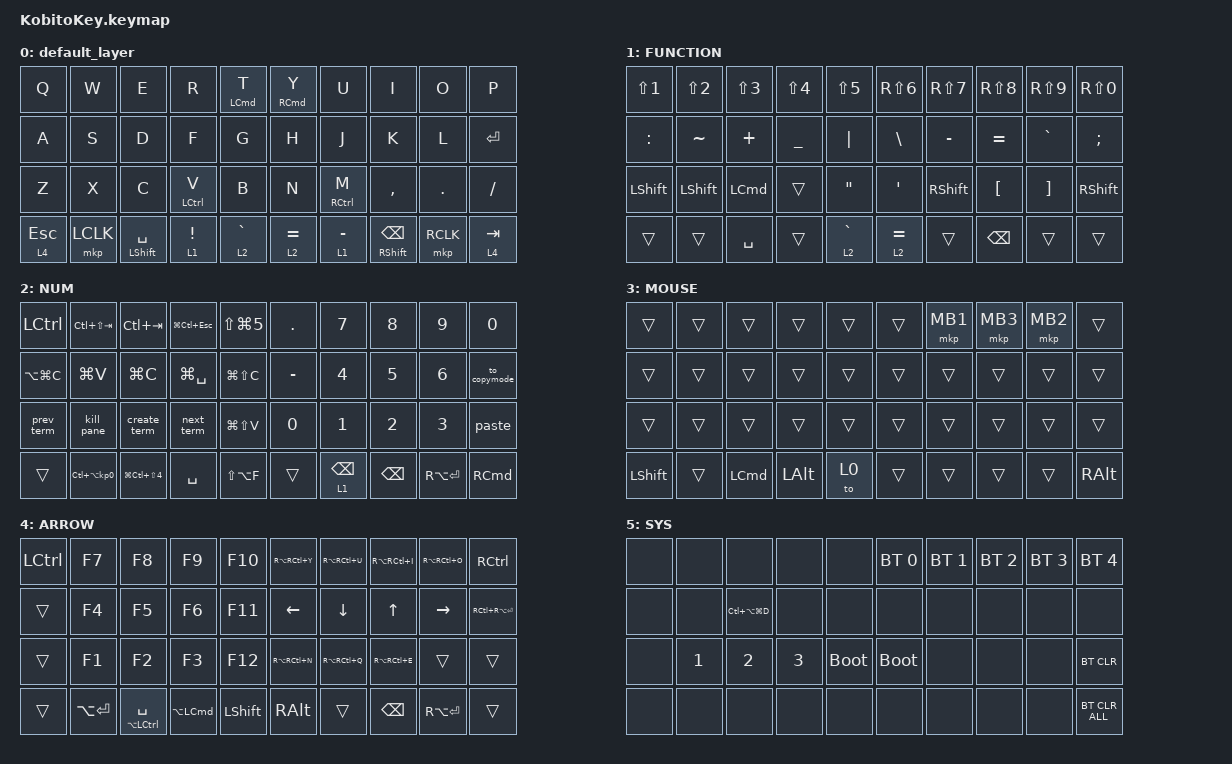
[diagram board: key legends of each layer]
#include <input/processors.dtsi>
#include <behaviors.dtsi>
#include <dt-bindings/zmk/bt.h>
#include <dt-bindings/zmk/keys.h>
#include <dt-bindings/zmk/pointing.h>

// 2026-11-17 に roBaish（zmk-config-roBa の roBa.keymap）にそろえた
//
// キーの位置
//    0  1  2  3  4      5  6  7  8  9      Q W E R T    Y U I O P
//   10 11 12 13 14     15 16 17 18 19      A S D F G    H J K L Return
//   20 21 22 23 24     25 26 27 28 29      Z X C V B    N M , . /
//   30 31 32 33 34     35 36 37 38 39      小指の下・薬指の下・親指 外・中・内    親指 内・中・外・薬指の下・小指の下
//
// レイヤー: 0 通常 / 1 FUNCTION（記号）/ 2 NUM（数字）/ 3 MOUSE（自動マウス）/ 4 ARROW（矢印）/ 5 SYS（システム）
// roBaish の 43 キーとの違い
//   クリック: 薬指の下（左＝左クリック、右＝右クリック）と、MOUSE の U・I・O
//   スクロール: 専用のキーはない（左のボール）
//   内側の4キー（` = ! -）: ! - は親指 中、` = は親指 内のタップ。H の左の長押し（⌥）は、通常のレイヤーにはない
//   親指 外（TH1）と 中（TH2）のタップは 2026-11-17 に入れ替え、同じ日に戻した（5 月の並び）。b・n を親指で押すことにして、
//   親指の置き場が ! と b（右は - と n）の上になり、外がいちばん押しやすくなったため。外＝⇧/Space・⇧/BS、中＝記号/!・記号/-
//   かな・英数: 専用のキーはない（S+D・K+L の combo）

// 長押しの判定を roBaish にそろえる
// ⇧・⌘・⌃ を兼ねるキー: 別のキーを押して離したら長押し（既定は、別のキーを押した時点で長押し）
&mt {
    flavor = "balanced";
    quick-tap-ms = <0>;
};

// レイヤーを兼ねるキー: 別のキーを押した時点でレイヤーに入る（既定は、0.2 秒たつまで入らない）
&lt {
    flavor = "hold-preferred";
};

/ {
    combos {
        compatible = "zmk,combos";

        // roBaish と同じ 10 個。どれも通常（0）と自動マウス（3）のレイヤーだけで効く
        // Esc と入力切り替えは、ほかのキーの直後 150ms 以内は効かない（打鍵中の誤爆よけ。"we"・"action" の io など）
        // Tab と記号はガードなし。打った直後に続けて出したいため（補完の Tab、ローマ字の「ー」、閉じの ` など）

        // Esc。左は W+E、右は I+O
        esc_we {
            bindings = <&kp ESC>;
            key-positions = <1 2>;
            layers = <0 3>;
            require-prior-idle-ms = <150>;
        };

        esc_io {
            bindings = <&kp ESC>;
            key-positions = <7 8>;
            layers = <0 3>;
            require-prior-idle-ms = <150>;
        };

        // macOS の入力切り替え。左の S+D でかな、右の K+L で英数
        kana {
            bindings = <&kp LANG1>;
            key-positions = <11 12>;
            layers = <0 3>;
            require-prior-idle-ms = <150>;
        };

        eisu {
            bindings = <&kp LANG2>;
            key-positions = <17 18>;
            layers = <0 3>;
            require-prior-idle-ms = <150>;
        };

        // Tab。左は X+C、右は ,+.
        tab_xc {
            bindings = <&kp TAB>;
            key-positions = <21 22>;
            layers = <0 3>;
        };

        tab_comma_dot {
            bindings = <&kp TAB>;
            key-positions = <27 28>;
            layers = <0 3>;
        };

        // 記号。左は D+F で `、C+V で !。右は J+K で =、M+, で -
        grave_df {
            bindings = <&kp GRAVE>;
            key-positions = <12 13>;
            layers = <0 3>;
        };

        excl_cv {
            bindings = <&kp EXCLAMATION>;
            key-positions = <22 23>;
            layers = <0 3>;
        };

        equal_jk {
            bindings = <&kp EQUAL>;
            key-positions = <16 17>;
            layers = <0 3>;
        };

        minus_m_comma {
            bindings = <&kp MINUS>;
            key-positions = <26 27>;
            layers = <0 3>;
        };
    };

    conditional_layers {
        compatible = "zmk,conditional-layers";

        // FUNCTION（記号）と NUM（数字）の親指キーを両方押している間、SYS（システム）に入る
        // どちらを先に押してもよいのは、左の 内（NUM）と右の 中（FUNCTION）の組
        sys {
            if-layers = <1 2>;
            then-layer = <5>;
        };
    };

    macros {
        to_copymode: to_copymode {
            compatible = "zmk,behavior-macro";
            #binding-cells = <0>;
            bindings = <&kp LC(G) &kp LEFT_BRACKET>;
            label = "TO_COPYMODE";
        };

        paste: paste {
            compatible = "zmk,behavior-macro";
            #binding-cells = <0>;
            bindings = <&kp LC(G) &kp EQUAL>;
            label = "PASTE";
        };

        create_term: create_term {
            compatible = "zmk,behavior-macro";
            #binding-cells = <0>;
            bindings = <&kp LC(G) &kp C>;
            label = "CREATE_TERM";
        };

        kill_pane: kill_pane {
            compatible = "zmk,behavior-macro";
            #binding-cells = <0>;
            bindings = <&kp LC(G) &kp X>;
            label = "KILL_PANE";
        };

        next_term: next_term {
            compatible = "zmk,behavior-macro";
            #binding-cells = <0>;
            bindings = <&kp LC(G) &kp N>;
            label = "NEXT_TERM";
        };

        prev_term: prev_term {
            compatible = "zmk,behavior-macro";
            #binding-cells = <0>;
            bindings = <&kp LC(G) &kp P>;
            label = "PREV_TERM";
        };
    };

    behaviors {
        // 親指 中（TH2）の !・- のキー。長押しで FUNCTION（記号）
        // 次のキーを押して離すまで長押しにならない（Space・BS を 中 に置いていたときの判定のまま。2026-11-17）
        // 速く打って、!・- を離す前に次の字を押しても、!・- のまま（ローマ字の「ー」のあとなど）
        lt_bal: lt_bal {
            compatible = "zmk,behavior-hold-tap";
            #binding-cells = <2>;
            flavor = "balanced";
            tapping-term-ms = <200>;
            bindings = <&mo>, <&kp>;
        };

        // SYS に入る2本目の親指キー。0.2 秒以上押したままにしたときだけレイヤーに入る
        // NUM の中で BS を打ってすぐ数字を打っても、SYS の BT 切り替えに当たらないようにするため
        lt_slow: lt_slow {
            compatible = "zmk,behavior-hold-tap";
            #binding-cells = <2>;
            flavor = "tap-preferred";
            tapping-term-ms = <200>;
            bindings = <&mo>, <&kp>;
        };
    };

    keymap {
        compatible = "zmk,keymap";

        default_layer {
            bindings = <
&kp Q         &kp W      &kp E                 &kp R              &mt LEFT_COMMAND T  &mt RIGHT_COMMAND Y  &kp U        &kp I                &kp O      &kp P
&kp A         &kp S      &kp D                 &kp F              &kp G               &kp H                &kp J        &kp K                &kp L      &kp RETURN
&kp Z         &kp X      &kp C                 &mt LCTRL V        &kp B               &kp N                &mt RCTRL M  &kp COMMA            &kp DOT    &kp SLASH
&lt 4 ESCAPE  &mkp LCLK  &mt LEFT_SHIFT SPACE  &lt_bal 1 EXCLAMATION  &lt 2 GRAVE         &lt 2 EQUAL          &lt_bal 1 MINUS  &mt RSHFT BACKSPACE  &mkp RCLK  &lt 4 TAB
            >;
        };

        FUNCTION {
            bindings = <
&kp LS(N1)      &kp LS(N2)      &kp LS(N3)        &kp LS(N4)      &kp LS(N5)         &kp RS(N6)        &kp RS(N7)       &kp RS(N8)     &kp RS(N9)  &kp RS(N0)
&kp COLON       &kp TILDE       &kp PLUS          &kp UNDERSCORE  &kp PIPE           &kp BACKSLASH     &kp MINUS        &kp EQUAL      &kp GRAVE   &kp SEMICOLON
&kp LEFT_SHIFT  &kp LEFT_SHIFT  &kp LEFT_COMMAND  &trans          &kp DOUBLE_QUOTES  &kp SINGLE_QUOTE  &kp RIGHT_SHIFT  &kp LBKT       &kp RBKT    &kp RIGHT_SHIFT
&trans          &trans          &kp SPACE         &trans          &lt_slow 2 GRAVE   &lt_slow 2 EQUAL  &trans           &kp BACKSPACE  &trans      &trans
            >;
        };

        NUM {
            bindings = <
&kp LEFT_CONTROL  &kp LC(LS(TAB))          &kp LC(TAB)         &kp LG(LC(ESCAPE))  &kp LS(LG(N5))  &kp PERIOD  &kp N7            &kp N8         &kp N9          &kp N0
&kp LA(LG(C))     &kp LG(V)                &kp LG(C)           &kp LG(SPACE)       &kp LG(LS(C))   &kp MINUS   &kp N4            &kp N5         &kp N6          &to_copymode
&prev_term        &kill_pane               &create_term        &next_term          &kp LG(LS(V))   &kp N0      &kp N1            &kp N2         &kp N3          &paste
&trans            &kp LC(LA(KP_NUMBER_0))  &kp LG(LC(LS(N4)))  &kp SPACE           &kp LS(LA(F))   &trans      &lt_slow 1 BACKSPACE  &kp BACKSPACE  &kp RA(RETURN)  &kp RIGHT_COMMAND
            >;
        };

        // 薬指の下（31・38）は &trans で、通常のレイヤーの左クリック・右クリックのまま
        // （38 は前は &to 0。自動マウスの除外キーではないので、クリックするとこのレイヤーを抜ける）
        MOUSE {
            bindings = <
&trans     &trans  &trans    &trans    &trans  &trans  &mkp MB1  &mkp MB3  &mkp MB2  &trans
&trans     &trans  &trans    &trans    &trans  &trans  &trans    &trans    &trans    &trans
&trans     &trans  &trans    &trans    &trans  &trans  &trans    &trans    &trans    &trans
&kp LSHFT  &trans  &kp LCMD  &kp LALT  &to 0   &trans  &trans    &trans    &trans    &kp RALT
            >;
        };

        ARROW {
            bindings = <
&kp LCTRL  &kp F7          &kp F8               &kp F9                &kp F10         &kp RA(RC(Y))  &kp RA(RC(U))  &kp RA(RC(I))  &kp RA(RC(O))   &kp RCTRL
&trans     &kp F4          &kp F5               &kp F6                &kp F11         &kp LEFT       &kp DOWN       &kp UP         &kp RIGHT       &kp RC(RA(RETURN))
&trans     &kp F1          &kp F2               &kp F3                &kp F12         &kp RA(RC(N))  &kp RA(RC(Q))  &kp RA(RC(E))  &trans          &trans
&trans     &kp LA(RETURN)  &mt LA(LCTRL) SPACE  &kp LA(LEFT_COMMAND)  &kp LEFT_SHIFT  &kp RIGHT_ALT  &trans         &kp BACKSPACE  &kp RA(RETURN)  &trans
            >;
        };

        // FUNCTION と NUM の親指キーを両方押している間だけ入る（上の conditional_layers）
        // 決めていないキーは &none（下の NUM・FUNCTION の ⌘V や記号が出ないように）
        SYS {
            bindings = <
&none  &none          &none              &none          &none        &bt BT_SEL 0  &bt BT_SEL 1  &bt BT_SEL 2  &bt BT_SEL 3  &bt BT_SEL 4
&none  &none          &kp LC(LA(LG(D)))  &none          &none        &none         &none         &none         &none         &none
&none  &kp NUMBER_1   &kp NUMBER_2       &kp NUMBER_3   &bootloader  &bootloader   &none         &none         &none         &bt BT_CLR
&none  &none          &none              &none          &none        &none         &none         &none         &none         &bt BT_CLR_ALL
            >;
        };
    };
};
